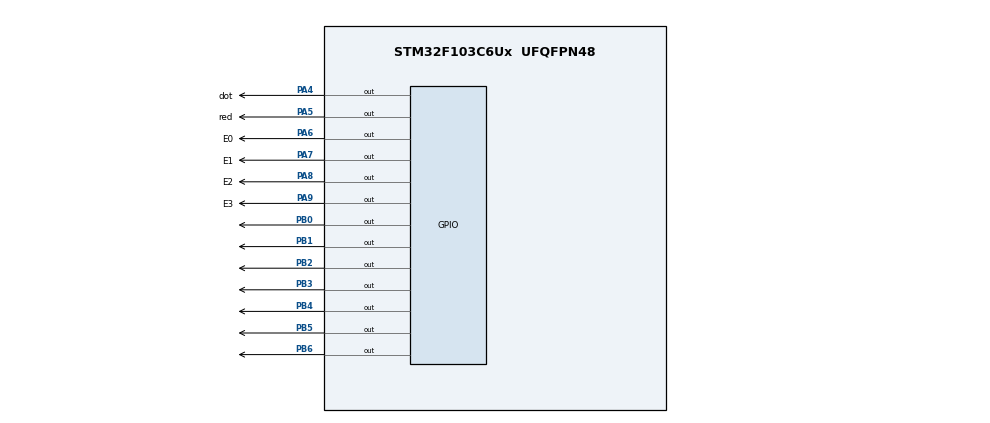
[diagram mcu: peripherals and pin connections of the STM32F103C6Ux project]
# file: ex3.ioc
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Mcu.Family=STM32F1
Mcu.Name=STM32F103C6Ux
Mcu.Package=UFQFPN48
NVIC.PriorityGroup=NVIC_PRIORITYGROUP_4
NVIC.TIM2_IRQn=true\:0\:0\:false\:false\:true\:true\:true
PA4.GPIO_Label=dot
PA4.Signal=GPIO_Output
PA5.GPIO_Label=red
PA5.Signal=GPIO_Output
PA6.GPIO_Label=E0
PA6.Signal=GPIO_Output
PA7.GPIO_Label=E1
PA7.Signal=GPIO_Output
PA8.GPIO_Label=E2
PA8.Signal=GPIO_Output
PA9.GPIO_Label=E3
PA9.Signal=GPIO_Output
PB0.Signal=GPIO_Output
PB1.Signal=GPIO_Output
PB2.Signal=GPIO_Output
PB3.Signal=GPIO_Output
PB4.Signal=GPIO_Output
PB5.Signal=GPIO_Output
PB6.Signal=GPIO_Output
ProjectManager.HeapSize=0x200
ProjectManager.StackSize=0x400
ProjectManager.TargetToolchain=STM32CubeIDE
RCC.APB1Freq_Value=8000000
RCC.APB2Freq_Value=8000000
TIM2.Period=9
TIM2.Prescaler=7999
VP_SYS_VS_ND.Mode=No_Debug
VP_TIM2_VS_ClockSourceINT.Mode=Internal
board=custom

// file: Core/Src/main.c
/* USER CODE BEGIN Header */
/**
  ******************************************************************************
  * @file           : main.c
  * @brief          : Main program body
  ******************************************************************************
  * @attention
  *
  * <h2><center>&copy; Copyright (c) 2023 STMicroelectronics.
  * All rights reserved.</center></h2>
  *
  * This software component is licensed by ST under BSD 3-Clause license,
  * the "License"; You may not use this file except in compliance with the
  * License. You may obtain a copy of the License at:
  *                        opensource.org/licenses/BSD-3-Clause
  *
  ******************************************************************************
  */
/* USER CODE END Header */
#include "main.h"

TIM_HandleTypeDef htim2;

void SystemClock_Config(void);
static void MX_GPIO_Init(void);
static void MX_TIM2_Init(void);

int main(void)
{

  /* MCU Configuration--------------------------------------------------------*/

  /* Reset of all peripherals, Initializes the Flash interface and the Systick. */
  HAL_Init();

  /* Configure the system clock */
  SystemClock_Config();

  /* Initialize all configured peripherals */
  MX_GPIO_Init();
  MX_TIM2_Init();
  /* USER CODE BEGIN 2 */
  HAL_TIM_Base_Start_IT (& htim2 ) ;
  /* USER CODE END 2 */

  /* Infinite loop */
  while (1)
  {

  }
}

void SystemClock_Config(void)
{
  RCC_OscInitTypeDef RCC_OscInitStruct = {0};
  RCC_ClkInitTypeDef RCC_ClkInitStruct = {0};

  /** Initializes the RCC Oscillators according to the specified parameters
  * in the RCC_OscInitTypeDef structure.
  */
  RCC_OscInitStruct.OscillatorType = RCC_OSCILLATORTYPE_HSI;
  RCC_OscInitStruct.HSIState = RCC_HSI_ON;
  RCC_OscInitStruct.HSICalibrationValue = RCC_HSICALIBRATION_DEFAULT;
  RCC_OscInitStruct.PLL.PLLState = RCC_PLL_NONE;
  if (HAL_RCC_OscConfig(&RCC_OscInitStruct) != HAL_OK)
  {
    Error_Handler();
  }
  /** Initializes the CPU, AHB and APB buses clocks
  */
  RCC_ClkInitStruct.ClockType = RCC_CLOCKTYPE_HCLK|RCC_CLOCKTYPE_SYSCLK
                              |RCC_CLOCKTYPE_PCLK1|RCC_CLOCKTYPE_PCLK2;
  RCC_ClkInitStruct.SYSCLKSource = RCC_SYSCLKSOURCE_HSI;
  RCC_ClkInitStruct.AHBCLKDivider = RCC_SYSCLK_DIV1;
  RCC_ClkInitStruct.APB1CLKDivider = RCC_HCLK_DIV1;
  RCC_ClkInitStruct.APB2CLKDivider = RCC_HCLK_DIV1;

  if (HAL_RCC_ClockConfig(&RCC_ClkInitStruct, FLASH_LATENCY_0) != HAL_OK)
  {
    Error_Handler();
  }
}

static void MX_TIM2_Init(void)
{

  TIM_ClockConfigTypeDef sClockSourceConfig = {0};
  TIM_MasterConfigTypeDef sMasterConfig = {0};

  htim2.Instance = TIM2;
  htim2.Init.Prescaler = 7999;
  htim2.Init.CounterMode = TIM_COUNTERMODE_UP;
  htim2.Init.Period = 9;
  htim2.Init.ClockDivision = TIM_CLOCKDIVISION_DIV1;
  htim2.Init.AutoReloadPreload = TIM_AUTORELOAD_PRELOAD_DISABLE;
  if (HAL_TIM_Base_Init(&htim2) != HAL_OK)
  {
    Error_Handler();
  }
  sClockSourceConfig.ClockSource = TIM_CLOCKSOURCE_INTERNAL;
  if (HAL_TIM_ConfigClockSource(&htim2, &sClockSourceConfig) != HAL_OK)
  {
    Error_Handler();
  }
  sMasterConfig.MasterOutputTrigger = TIM_TRGO_RESET;
  sMasterConfig.MasterSlaveMode = TIM_MASTERSLAVEMODE_DISABLE;
  if (HAL_TIMEx_MasterConfigSynchronization(&htim2, &sMasterConfig) != HAL_OK)
  {
    Error_Handler();
  }

}

static void MX_GPIO_Init(void)
{
  GPIO_InitTypeDef GPIO_InitStruct = {0};

  /* GPIO Ports Clock Enable */
  __HAL_RCC_GPIOA_CLK_ENABLE();
  __HAL_RCC_GPIOB_CLK_ENABLE();

  /*Configure GPIO pin Output Level */
  HAL_GPIO_WritePin(GPIOA, dot_Pin|red_Pin|E0_Pin|E1_Pin
                          |E2_Pin|E3_Pin, GPIO_PIN_RESET);

  /*Configure GPIO pin Output Level */
  HAL_GPIO_WritePin(GPIOB, GPIO_PIN_0|GPIO_PIN_1|GPIO_PIN_2|GPIO_PIN_3
                          |GPIO_PIN_4|GPIO_PIN_5|GPIO_PIN_6, GPIO_PIN_RESET);

  /*Configure GPIO pins : dot_Pin red_Pin E0_Pin E1_Pin
                           E2_Pin E3_Pin */
  GPIO_InitStruct.Pin = dot_Pin|red_Pin|E0_Pin|E1_Pin
                          |E2_Pin|E3_Pin;
  GPIO_InitStruct.Mode = GPIO_MODE_OUTPUT_PP;
  GPIO_InitStruct.Pull = GPIO_NOPULL;
  GPIO_InitStruct.Speed = GPIO_SPEED_FREQ_LOW;
  HAL_GPIO_Init(GPIOA, &GPIO_InitStruct);

  /*Configure GPIO pins : PB0 PB1 PB2 PB3
                           PB4 PB5 PB6 */
  GPIO_InitStruct.Pin = GPIO_PIN_0|GPIO_PIN_1|GPIO_PIN_2|GPIO_PIN_3
                          |GPIO_PIN_4|GPIO_PIN_5|GPIO_PIN_6;
  GPIO_InitStruct.Mode = GPIO_MODE_OUTPUT_PP;
  GPIO_InitStruct.Pull = GPIO_NOPULL;
  GPIO_InitStruct.Speed = GPIO_SPEED_FREQ_LOW;
  HAL_GPIO_Init(GPIOB, &GPIO_InitStruct);

}

/* USER CODE BEGIN 4 */
void display7SEG(int num)
{
    const int segments[10] = {
        0b00111111, // 0
        0b00000110, // 1
        0b01011011, // 2
        0b01001111, // 3
        0b01100110, // 4
        0b01101101, // 5
        0b01111101, // 6
        0b00000111, // 7
        0b01111111, // 8
        0b01101111  // 9
    };

    uint8_t displaySegments = segments[num];

    HAL_GPIO_WritePin(GPIOB, GPIO_PIN_0, (displaySegments & 0x01) ? GPIO_PIN_RESET : GPIO_PIN_SET);
    HAL_GPIO_WritePin(GPIOB, GPIO_PIN_1, ((displaySegments >> 1) & 0x01) ? GPIO_PIN_RESET : GPIO_PIN_SET);
    HAL_GPIO_WritePin(GPIOB, GPIO_PIN_2, ((displaySegments >> 2) & 0x01) ? GPIO_PIN_RESET : GPIO_PIN_SET);
    HAL_GPIO_WritePin(GPIOB, GPIO_PIN_3, ((displaySegments >> 3) & 0x01) ? GPIO_PIN_RESET : GPIO_PIN_SET);
    HAL_GPIO_WritePin(GPIOB, GPIO_PIN_4, ((displaySegments >> 4) & 0x01) ? GPIO_PIN_RESET : GPIO_PIN_SET);
    HAL_GPIO_WritePin(GPIOB, GPIO_PIN_5, ((displaySegments >> 5) & 0x01) ? GPIO_PIN_RESET : GPIO_PIN_SET);
    HAL_GPIO_WritePin(GPIOB, GPIO_PIN_6, ((displaySegments >> 6) & 0x01) ? GPIO_PIN_RESET : GPIO_PIN_SET);
}
const int MAX_LED = 4;
int index_led = 0; // state
int led_buffer [4] = {2 , 3 , 0 , 9};
void update7SEG(int index) {
    switch (index) {
        case 0:
            display7SEG(led_buffer[0]);
            break;
        case 1:
            display7SEG(led_buffer[1]);
            break;
        case 2:
            display7SEG(led_buffer[2]);
            break;
        case 3:
            display7SEG(led_buffer[3]);
            break;
        default:
            break;
    }
}
int counter = 50, dot_counter = 0;
void HAL_TIM_PeriodElapsedCallback ( TIM_HandleTypeDef * htim ) {
	counter--;
	if(counter <= 0){
		counter = 50;
		HAL_GPIO_TogglePin(red_GPIO_Port, red_Pin);
		dot_counter++;
		if(dot_counter == 2) {
			HAL_GPIO_TogglePin(dot_GPIO_Port, dot_Pin);
			dot_counter = 0;
		}
		if(index_led == 0) {
			HAL_GPIO_WritePin(E0_GPIO_Port, E0_Pin, RESET);
			HAL_GPIO_WritePin(E1_GPIO_Port, E1_Pin, SET);
			HAL_GPIO_WritePin(E2_GPIO_Port, E2_Pin, SET);
			HAL_GPIO_WritePin(E3_GPIO_Port, E3_Pin, SET);
			update7SEG(index_led);
		}
		else if(index_led == 1) {
			HAL_GPIO_WritePin(E0_GPIO_Port, E0_Pin, SET);
			HAL_GPIO_WritePin(E1_GPIO_Port, E1_Pin, RESET);
			HAL_GPIO_WritePin(E2_GPIO_Port, E2_Pin, SET);
			HAL_GPIO_WritePin(E3_GPIO_Port, E3_Pin, SET);
			update7SEG(index_led);
		}
		else if(index_led == 2) {
			HAL_GPIO_WritePin(E0_GPIO_Port, E0_Pin, SET);
			HAL_GPIO_WritePin(E1_GPIO_Port, E1_Pin, SET);
			HAL_GPIO_WritePin(E2_GPIO_Port, E2_Pin, RESET);
			HAL_GPIO_WritePin(E3_GPIO_Port, E3_Pin, SET);
			update7SEG(index_led);
		}
		else {
			HAL_GPIO_WritePin(E0_GPIO_Port, E0_Pin, SET);
			HAL_GPIO_WritePin(E1_GPIO_Port, E1_Pin, SET);
			HAL_GPIO_WritePin(E2_GPIO_Port, E2_Pin, SET);
			HAL_GPIO_WritePin(E3_GPIO_Port, E3_Pin, RESET);
			update7SEG(index_led);
		}
		index_led = (index_led + 1) % MAX_LED;
	}
}
/* USER CODE END 4 */

void Error_Handler(void)
{
  __disable_irq();
  while (1)
  {
  }
}

/************************ (C) COPYRIGHT STMicroelectronics *****END OF FILE****/
